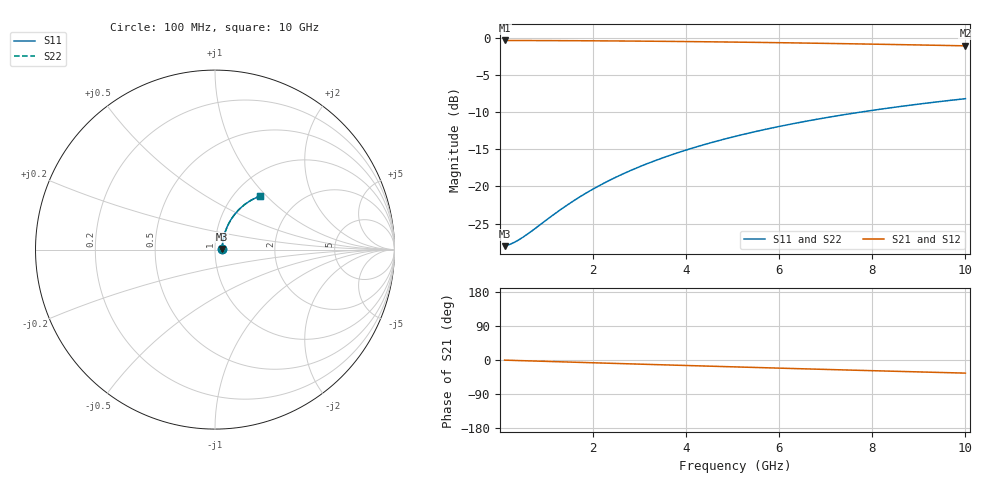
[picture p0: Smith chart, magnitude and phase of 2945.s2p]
# Hz S RI R 50.00
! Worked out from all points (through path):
!   100 points, 100 MHz to 10 GHz, reference 50 ohm
!   highest |S21| = -0.35 dB at 100 MHz (marker M1); lowest = -1.1 dB at 10 GHz (marker M2)
!   group delay of S21, straight-line fit = 9.64 ps
!   lowest |S11| = -28.0 dB at 100 MHz (marker M3), VSWR 1.08, Z = 54.1 + j0.446 ohm
!   |S11| at or under -10 dB: start of sweep to 7.745 GHz
!   |S22| runs from -28.0 to -8.2 dB; largest |S21 - S12| = 0
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1e8  0.0394 0.00412  0.9606 -0.00614  0.9606 -0.00614  0.0394 0.00412
2e8  0.0397 0.00823  0.9603 -0.0123  0.9603 -0.0123  0.0397 0.00823
3e8  0.04 0.0123  0.9599 -0.0184  0.9599 -0.0184  0.04 0.0123
5e8  0.0407 0.0205  0.9592 -0.0306  0.9592 -0.0306  0.0407 0.0205
7e8  0.0416 0.0287  0.9583 -0.0429  0.9583 -0.0429  0.0416 0.0287
1.3e9  0.0452 0.0531  0.9545 -0.0793  0.9545 -0.0793  0.0452 0.0531
1.6e9  0.0476 0.0651  0.9518 -0.0974  0.9518 -0.0974  0.0476 0.0651
1.8e9  0.0495 0.073  0.9498 -0.1094  0.9498 -0.1094  0.0495 0.073
2.2e9  0.0538 0.0888  0.9452 -0.1332  0.9452 -0.1332  0.0538 0.0888
2.6e9  0.0588 0.1042  0.9397 -0.1567  0.9397 -0.1567  0.0588 0.1042
3e9  0.0647 0.1193  0.9334 -0.1799  0.9334 -0.1799  0.0647 0.1193
3.4e9  0.0712 0.134  0.9264 -0.2027  0.9264 -0.2027  0.0712 0.134
3.8e9  0.0784 0.1483  0.9186 -0.2251  0.9186 -0.2251  0.0784 0.1483
4.2e9  0.0862 0.1622  0.91 -0.2471  0.91 -0.2471  0.0862 0.1622
4.6e9  0.0947 0.1755  0.9008 -0.2686  0.9008 -0.2686  0.0947 0.1755
5.1e9  0.1062 0.1915  0.8883 -0.2947  0.8883 -0.2947  0.1062 0.1915
5.9e9  0.1262 0.2152  0.8664 -0.3348  0.8664 -0.3348  0.1262 0.2152
6.7e9  0.1481 0.2366  0.8424 -0.3725  0.8424 -0.3725  0.1481 0.2366
7.5e9  0.1714 0.2555  0.8166 -0.4078  0.8166 -0.4078  0.1714 0.2555
8.4e9  0.1992 0.2737  0.7857 -0.4444  0.7857 -0.4444  0.1992 0.2737
9.2e9  0.2248 0.2871  0.7571 -0.4744  0.7571 -0.4744  0.2248 0.2871
1e10  0.2509 0.2979  0.7276 -0.5018  0.7276 -0.5018  0.2509 0.2979
